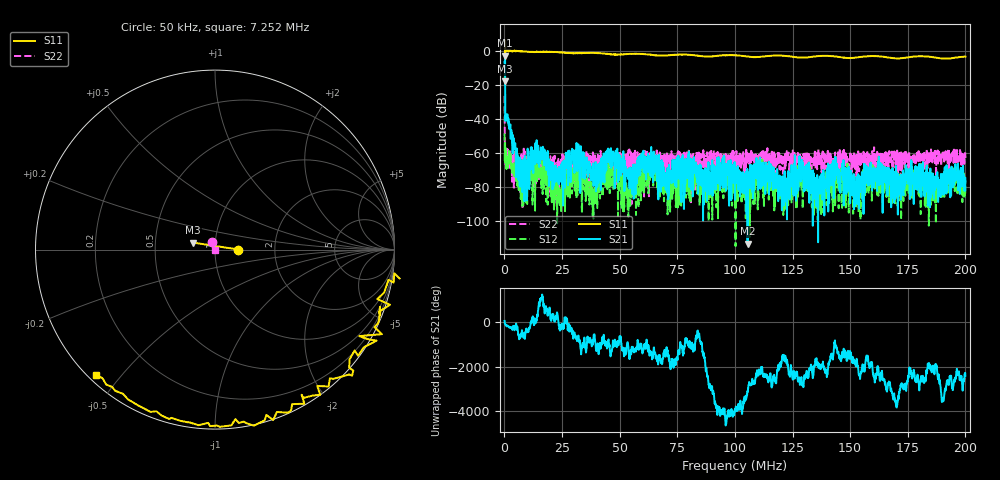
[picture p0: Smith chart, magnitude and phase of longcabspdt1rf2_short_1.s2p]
! 26-Feb-26 11:05:29 AM
! E:\VNA_MEASUREMENTS\LONGCAB_SPDT1_OPENSHORT\LONGCABSPDT1RF2_SHORT_1.S2P
! CHANNEL.1
! TR.MEASUREMENT
! CORRECTED.DATA
# GHZ S RI R 50.0
! FREQ.GHZ  S11RE  S11IM  S21RE  S21IM  S12RE  S12IM  S22RE  S22IM
!; PortSelection: Port_12
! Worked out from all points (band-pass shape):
!   2000 points, 50 kHz to 200 MHz, reference 50 ohm
!   highest |S21| = -2.92 dB at 250 kHz (marker M1); lowest = -113.0 dB at 105.5 MHz (marker M2)
!   |S21| within 3 dB of the highest: 190.6 kHz to 258.7 kHz (68.1 kHz wide, 30.3 % of centre)
!   lowest |S11| = -17.9 dB at 150 kHz (marker M3), VSWR 1.29, Z = 39 + j3.09 ohm
!   |S11| at or under -10 dB: start of sweep to 183.1 kHz
!   |S22| runs from -92.6 to -26.5 dB; largest |S21 - S12| = 0.71
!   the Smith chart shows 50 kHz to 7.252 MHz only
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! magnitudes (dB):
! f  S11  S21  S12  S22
! 50 kHz  -17.7  -6.7  -48.4  -26.5
! 150 kHz  -17.9  -8.0  -64.4  -52.8
! 250 kHz  5.9  -2.9  -54.0  -59.1
! 1.25 MHz  -0.2  -37.3  -65.2  -57.7
! 7.052 MHz  -0.3  -72.5  -86.9  -69.6
! 13.95 MHz  -0.7  -52.5  -75.3  -65.4
! 22.46 MHz  -0.8  -69.8  -83.9  -73.2
! 30.36 MHz  -1.5  -71.7  -66.4  -68.1
! 33.46 MHz  -1.6  -67.4  -67.8  -58.7
! 39.66 MHz  -1.4  -82.5  -79.2  -65.1
! 45.36 MHz  -2.0  -65.0  -77.3  -67.2
! 55.16 MHz  -1.9  -72.8  -80.9  -89.9
! 60.07 MHz  -2.0  -59.5  -72.2  -78.2
! 66.77 MHz  -2.9  -87.1  -80.5  -61.6
! 70.67 MHz  -2.8  -83.1  -78.7  -74.1
! 79.77 MHz  -2.4  -62.2  -73.3  -61.5
! 85.97 MHz  -3.3  -69.7  -73.4  -60.4
! 100.1 MHz  -2.7  -87.4  -89.9  -63.4
! 105.5 MHz  -3.5  -113.0  -81.3  -62.5
! 133.4 MHz  -3.6  -79.3  -91.7  -65.6
! 166.7 MHz  -4.0  -68.6  -77.0  -62.2
! 200 MHz  -3.5  -74.8  -75.9  -62.9
